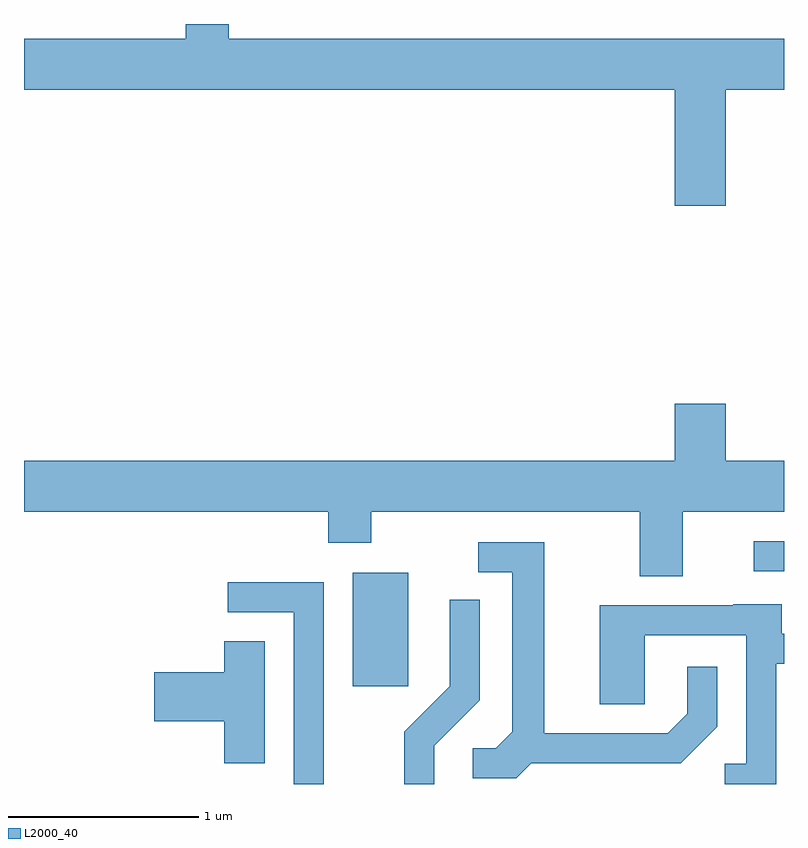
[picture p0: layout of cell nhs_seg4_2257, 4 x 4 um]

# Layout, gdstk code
import gdstk
lib = gdstk.Library(unit=1e-6, precision=1e-09)
def R(c, l, rs):  # rectangles x0, y0, x1, y1
    for r in rs: c.add(gdstk.rectangle(r[:2], r[2:], *l))
def P(c, l, *ps):  # polygons
    for p in ps: c.add(gdstk.Polygon(p, *l))
L2000_40 = (2000, 40)

nhs_seg4_2257 = lib.new_cell('nhs_seg4_2257')
R(nhs_seg4_2257, L2000_40, [(253.341,1280.496,253.634,1281.094), (255.453,1281.101,255.611,1281.259)])
P(nhs_seg4_2257, L2000_40, [(255.304,1283.636),(255.611,1283.636),(255.611,1283.904),(252.689,1283.904),(252.689,1283.982),(252.461,1283.982),(252.461,1283.904),(251.611,1283.904),(251.611,1283.636),(255.036,1283.636),(255.036,1283.026),(255.304,1283.026)],
  [(255.079,1281.416),(255.611,1281.416),(255.611,1281.684),(255.304,1281.684),(255.304,1281.984),(255.036,1281.984),(255.036,1281.684),(251.611,1281.684),(251.611,1281.416),(253.211,1281.416),(253.211,1281.251),(253.439,1281.251),(253.439,1281.416),(254.851,1281.416),(254.851,1281.076),(255.079,1281.076)],
  [(254.282,1280.091),(255.067,1280.091),(255.259,1280.284),(255.259,1280.598),(255.101,1280.598),(255.101,1280.352),(254.999,1280.249),(254.349,1280.249),(254.349,1281.254),(254.003,1281.254),(254.003,1281.096),(254.181,1281.096),(254.181,1280.257),(254.094,1280.169),(253.973,1280.169),(253.973,1280.011),(254.202,1280.011)],
  [(253.189,1281.044),(252.683,1281.044),(252.683,1280.886),(253.031,1280.886),(253.031,1279.982),(253.189,1279.982)],
  [(253.769,1280.184),(254.009,1280.424),(254.009,1280.953),(253.851,1280.953),(253.851,1280.497),(253.611,1280.257),(253.611,1279.982),(253.769,1279.982)],
  [(255.569,1280.616),(255.611,1280.616),(255.611,1280.774),(255.599,1280.774),(255.599,1280.929),(255.345,1280.929),(255.345,1280.924),(254.641,1280.924),(254.641,1280.401),(254.879,1280.401),(254.879,1280.766),(255.411,1280.766),(255.411,1280.089),(255.298,1280.089),(255.298,1279.982),(255.569,1279.982)],
  [(252.879,1280.734),(252.666,1280.734),(252.666,1280.569),(252.296,1280.569),(252.296,1280.311),(252.666,1280.311),(252.666,1280.091),(252.879,1280.091)])

lib.write_gds('nhs_seg4_2257.gds')
